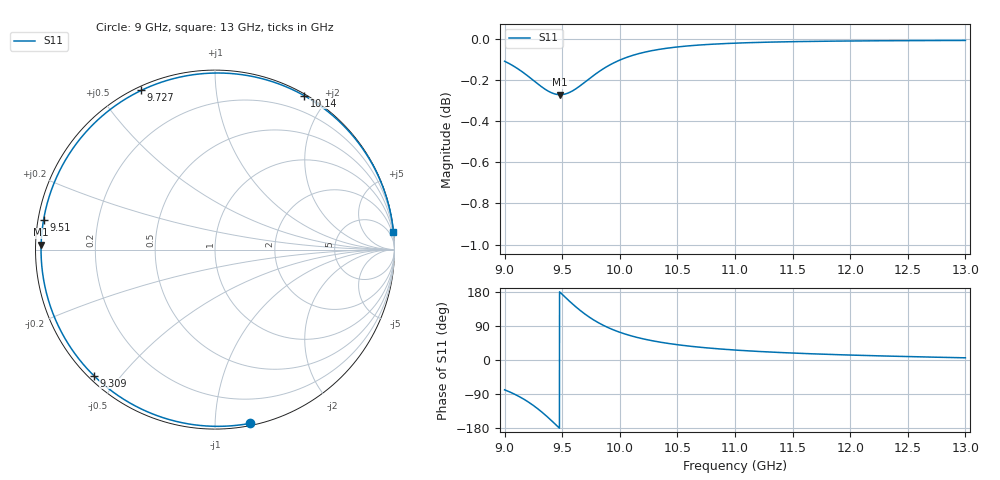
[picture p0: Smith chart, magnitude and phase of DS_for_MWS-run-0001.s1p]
! TOUCHSTONE file generated by CST DESIGN STUDIO
! Date and time: Tue Feb  4 13:39:59 2025
! Project name: C:\Work\MatlabApps\UnitCellOptimizationMatlab\CST\unitcell.cst
! Tree item: Tasks\Sweep1\SPara1\S-Parameters
! Header version: 2024
! Port assignment regex: !\s*Touchstone port\s*([0-9]+)\s*=\s*(CST MWS port|CST DES external port|CST DES block port)\s*(.+)\s* \(\"(.*)\"\)(\s*mode\s*([0-9]+))?.*
! Touchstone port assignment:
! Touchstone port 1 = CST DES external port 1 ("")
# GHz S MA R 50
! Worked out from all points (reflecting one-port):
!   4001 points, 9 GHz to 13 GHz, reference 50 ohm
!   lowest |S11| = -0.3 dB at 9.482 GHz (marker M1), VSWR 64.02, Z = 0.781 + j0.704 ohm
!   phase of S11 starts at -79 deg and turns -276 deg over the sweep
!   S11 on the Smith chart (normalised r, x): 9 GHz: 0.02, -1.22; 9.309 GHz: 0.02, -0.43; 9.51 GHz: 0.02, +0.09; 9.727 GHz: 0.02, +0.64; 10.14 GHz: 0.02, +1.73; 13 GHz: 0, +20
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9  0.9876 -78.7
9.078  0.9849 -89.0
9.176  0.9807 -105.1
9.245  0.9773 -119.0
9.309  0.9741 -133.8
9.355  0.9721 -145.7
9.403  0.9704 -158.8
9.443  0.9695 -170.3
9.482  0.9692 178.4
9.5  0.9693 173.1
9.51  0.9694 170.3
9.562  0.9704 155.4
9.622  0.9726 139.3
9.674  0.9749 126.6
9.727  0.9775 114.8
9.782  0.9802 104.1
9.843  0.9828 93.7
9.92  0.9857 82.6
10  0.9882 73.2
10.145  0.9914 60.0
10.306  0.9937 49.4
10.5  0.9955 40.4
10.722  0.9967 32.9
11  0.9976 26.3
11.5  0.9984 18.3
12  0.9988 13.0
12.5  0.999 9.0
13  0.9991 5.8
